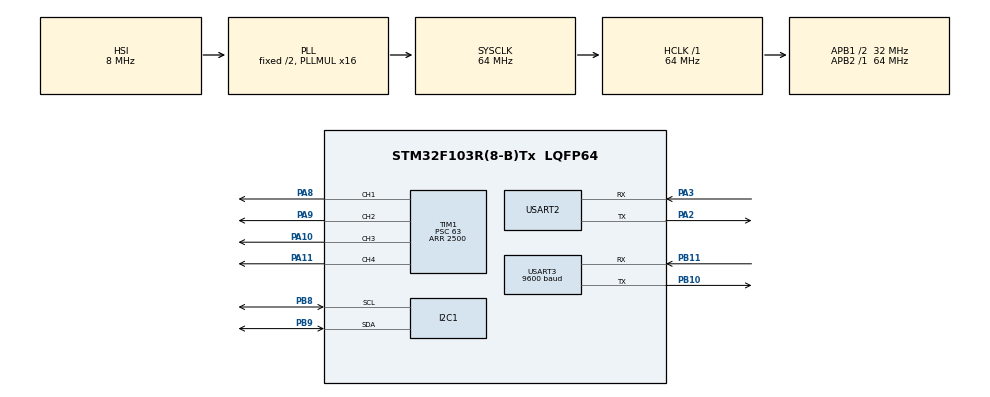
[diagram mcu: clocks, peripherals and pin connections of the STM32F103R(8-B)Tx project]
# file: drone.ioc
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I2C1.I2C_Mode=I2C_Fast
Mcu.Family=STM32F1
Mcu.Name=STM32F103R(8-B)Tx
Mcu.Package=LQFP64
NVIC.PriorityGroup=NVIC_PRIORITYGROUP_4
NVIC.USART2_IRQn=true\:0\:0\:false\:false\:true\:true\:true\:true
NVIC.USART3_IRQn=true\:0\:0\:false\:false\:true\:true\:true\:true
PA10.Signal=S_TIM1_CH3
PA11.Signal=S_TIM1_CH4
PA13.Mode=Serial_Wire
PA13.Signal=SYS_JTMS-SWDIO
PA14.Mode=Serial_Wire
PA14.Signal=SYS_JTCK-SWCLK
PA2.Mode=Asynchronous
PA2.Signal=USART2_TX
PA3.Mode=Asynchronous
PA3.Signal=USART2_RX
PA8.Signal=S_TIM1_CH1
PA9.Signal=S_TIM1_CH2
PB10.Mode=Asynchronous
PB10.Signal=USART3_TX
PB11.Mode=Asynchronous
PB11.Signal=USART3_RX
PB8.Mode=I2C
PB8.Signal=I2C1_SCL
PB9.Mode=I2C
PB9.Signal=I2C1_SDA
ProjectManager.HeapSize=0x200
ProjectManager.StackSize=0x400
ProjectManager.TargetToolchain=STM32CubeIDE
RCC.AHBFreq_Value=64000000
RCC.APB1CLKDivider=RCC_HCLK_DIV2
RCC.APB1Freq_Value=32000000
RCC.APB1TimFreq_Value=64000000
RCC.APB2Freq_Value=64000000
RCC.APB2TimFreq_Value=64000000
RCC.HCLKFreq_Value=64000000
RCC.HSE_VALUE=16000000
RCC.PLLMUL=RCC_PLL_MUL16
RCC.SYSCLKFreq_VALUE=64000000
RCC.SYSCLKSource=RCC_SYSCLKSOURCE_PLLCLK
RCC.USBFreq_Value=64000000
SH.S_TIM1_CH1.0=TIM1_CH1,PWM Generation1 CH1
SH.S_TIM1_CH2.0=TIM1_CH2,PWM Generation2 CH2
SH.S_TIM1_CH3.0=TIM1_CH3,PWM Generation3 CH3
SH.S_TIM1_CH4.0=TIM1_CH4,PWM Generation4 CH4
TIM1.Channel-PWM\ Generation1\ CH1=TIM_CHANNEL_1
TIM1.Channel-PWM\ Generation2\ CH2=TIM_CHANNEL_2
TIM1.Channel-PWM\ Generation3\ CH3=TIM_CHANNEL_3
TIM1.Channel-PWM\ Generation4\ CH4=TIM_CHANNEL_4
TIM1.OCFastMode_PWM-PWM\ Generation1\ CH1=TIM_OCFAST_DISABLE
TIM1.OCFastMode_PWM-PWM\ Generation3\ CH3=TIM_OCFAST_DISABLE
TIM1.OCFastMode_PWM-PWM\ Generation4\ CH4=TIM_OCFAST_DISABLE
TIM1.Period=2500
TIM1.Prescaler=63
TIM1.Pulse-PWM\ Generation1\ CH1=1000
TIM1.Pulse-PWM\ Generation2\ CH2=1000
TIM1.Pulse-PWM\ Generation3\ CH3=1000
TIM1.Pulse-PWM\ Generation4\ CH4=1000
USART2.VirtualMode=VM_ASYNC
USART3.BaudRate=9600
USART3.VirtualMode=VM_ASYNC
board=custom

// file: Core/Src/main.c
/* USER CODE BEGIN Header */
/**
  ******************************************************************************
  * @file           : main.c
  * @brief          : Main program body
  ******************************************************************************
  * @attention
  *
  * Copyright (c) 2024 STMicroelectronics.
  * All rights reserved.
  *
  * This software is licensed under terms that can be found in the LICENSE file
  * in the root directory of this software component.
  * If no LICENSE file comes with this software, it is provided AS-IS.
  *
  ******************************************************************************
  */
/* USER CODE END Header */
#include "main.h"

/* USER CODE BEGIN Includes */
#include "mokhw_MPU6050.h"

#include<stdio.h>
#include<string.h>
#include<math.h>
/* USER CODE END Includes */

/* USER CODE BEGIN PD */
#define UART_RX_BUFFER_SIZE 1024
#define RADIAN_TO_DEGREE (180 / 3.14159)
#define ALPHA 0.99
/* USER CODE END PD */

I2C_HandleTypeDef hi2c1;

TIM_HandleTypeDef htim1;

UART_HandleTypeDef huart2;
UART_HandleTypeDef huart3;

/* USER CODE BEGIN PV */
typedef struct {
	uint8_t buffer[UART_RX_BUFFER_SIZE];
	uint8_t temp;
	uint8_t rxd;
	volatile uint16_t input_p;
	volatile uint16_t output_p;
} uart_hal_rx_type;
typedef struct {
	float target_angle;
	float angle;
	float rate;
	float prev_rate;
	uint32_t prev_time;
	float stabilize_kp;
	float stabilize_ki;
	float rate_kp;
	float rate_ki;
	float rate_kd;
	float kd;
	float stabilize_iterm;
	float rate_iterm;
	float output;
} PID;
/* USER CODE END PV */

void SystemClock_Config(void);
static void MX_GPIO_Init(void);
static void MX_USART2_UART_Init(void);
static void MX_USART3_UART_Init(void);
static void MX_I2C1_Init(void);
static void MX_TIM1_Init(void);
/* USER CODE BEGIN PFP */
int _write(int, char*, int);
int __io_putchar(int);
void uart_hal_rx_buffer_init(void);
void HAL_UART_RxCpltCallback(UART_HandleTypeDef *huart);
uint8_t uart_hal_getchar(void);
void uart_hal_rx_monitor(void);
void mpu6050_init(mpu6050*);
float get_dt(uint32_t*);
void update_mpu6050();
long map(long val, long in_min, long in_max, long out_min, long out_max);
float map_f(float val, float in_min, float in_max, float out_min, float out_max);
void set_std_PID(PID*);
void set_dual_PID(PID*);
float constrain(float value, float min, float max);
void emergency_stop();
void kalman_filter(float accel_angle, float gyro_rate, float* angle, float* bias, float dt);
/* USER CODE END PFP */

/* USER CODE BEGIN 0 */
uart_hal_rx_type uart_hal_rx;
uint16_t in = 0;
uint8_t buffer[100];
uint32_t control_last_time;
mpu6050 my_mpu6050;
float base_gy_x, base_gy_y, base_gy_z;
uint32_t mpu_prev_time;
float angle_pitch = 0, angle_roll = 0, angle_yaw = 0;
float base_roll = 0;
float base_pitch = -6;
float base_yaw = 0;
int average[3] = {0};
long throttle = 1000;
float count;
float control_angle[3];
int offset[3] = {-176, 219, -254};
float LPF_Output[3];
float P[2][2] = {
		{1, 0},
		{0, 1}
};
float Q_angle = 0.001;
float Q_bias = 0.003;
float R_measure = 0.03;
float k[3] = {0};
float bias[3] = {0};
/* USER CODE END 0 */

int main(void)
{

  /* USER CODE BEGIN 1 */
	uart_hal_rx_buffer_init();
	PID pitch = {0};
	pitch.target_angle = base_pitch;
	pitch.stabilize_kp = 1.7;
	pitch.stabilize_ki = 0;
	pitch.rate_kp = 0.8;
	pitch.rate_ki = 0;
	pitch.rate_kd = 1.5;
	PID roll = {0};
	roll.target_angle = base_roll;
	roll.stabilize_kp = 1.7;
	roll.stabilize_ki = 0;
	roll.rate_kp = 0.8;
	roll.rate_ki = 0;
	roll.rate_kd = 1.5;
	PID yaw = {0};
	yaw.target_angle = base_yaw;
	yaw.stabilize_kp = 2;
	yaw.rate_kp = 1;
	yaw.rate_kd = 1;
	uint16_t m1_speed = 0, m2_speed = 0, m3_speed = 0, m4_speed = 0;

  /* USER CODE END 1 */

  /* MCU Configuration--------------------------------------------------------*/

  /* Reset of all peripherals, Initializes the Flash interface and the Systick. */
  HAL_Init();

  /* Configure the system clock */
  SystemClock_Config();

  /* Initialize all configured peripherals */
  MX_GPIO_Init();
  MX_USART2_UART_Init();
  MX_USART3_UART_Init();
  MX_I2C1_Init();
  MX_TIM1_Init();
  /* USER CODE BEGIN 2 */
  HAL_UART_Receive_IT(&huart3, &uart_hal_rx.temp, 1);
  WHO_AM_I(&hi2c1);
  wake_up(&hi2c1);
  set_sample_rate(&hi2c1, 1000);
  set_sensitivity(&hi2c1, &my_mpu6050, gyro_full_scale_range_250, accel_full_scale_range_2g);
  set_DLPF(&hi2c1, 1);

  mpu6050_init(&my_mpu6050);

  HAL_TIM_PWM_Start(&htim1, TIM_CHANNEL_1);
  HAL_TIM_PWM_Start(&htim1, TIM_CHANNEL_2);
  HAL_TIM_PWM_Start(&htim1, TIM_CHANNEL_3);
  HAL_TIM_PWM_Start(&htim1, TIM_CHANNEL_4);

  /* USER CODE END 2 */

  /* Infinite loop */
  /* USER CODE BEGIN WHILE */
  while (1)
  {
	  uart_hal_rx_monitor();
	  update_mpu6050();

	  if ((HAL_GetTick() - control_last_time) > 5000) {
		  emergency_stop();
	  }
	  if (throttle == 1000) {
		  pitch.stabilize_iterm = 0;
		  pitch.rate_iterm = 0;
		  pitch.output = 0;
		  roll.stabilize_iterm = 0;
		  roll.rate_iterm = 0;
		  roll.output = 0;
		  control_angle[2] = 0;
		  count = 0;
		  base_yaw = angle_yaw;
	  }

	  count += control_angle[2];
	  yaw.target_angle = base_yaw + count / 800;

	  pitch.angle = angle_pitch;
	  pitch.rate = my_mpu6050.gy_x_dps;
	  pitch.target_angle = base_pitch + control_angle[0];
	  roll.angle = angle_roll;
	  roll.rate = my_mpu6050.gy_y_dps;
	  roll.target_angle = base_roll + control_angle[1];
	  yaw.angle = angle_yaw;
	  yaw.rate = my_mpu6050.gy_z_dps;

	  set_dual_PID(&pitch);
	  set_dual_PID(&roll);
	  set_dual_PID(&yaw);

	  pitch.output = constrain(pitch.output, -200, 200);
	  roll.output = constrain(roll.output, -200, 200);
	  yaw.output = constrain(yaw.output, -200, 200);

	  /*m1_speed = (throttle == 1000) ? 1000 : throttle;
	  m2_speed = (throttle == 1000) ? 1000 : throttle;
	  m3_speed = (throttle == 1000) ? 1000 : throttle;
	  m4_speed = (throttle == 1000) ? 1000 : throttle;*/

	  m1_speed = (throttle == 1000) ? 1000 : throttle + pitch.output + roll.output + yaw.output;
	  m2_speed = (throttle == 1000) ? 1000 : throttle + pitch.output - roll.output - yaw.output;
	  m3_speed = (throttle == 1000) ? 1000 : throttle - pitch.output + roll.output - yaw.output;
	  m4_speed = (throttle == 1000) ? 1000 : throttle - pitch.output - roll.output + yaw.output;

	  if (m1_speed < 1000) {
		  m1_speed = 1000;
	  } else if(m1_speed > 2000) {
		  m1_speed = 2000;
	  }
	  if (m2_speed < 1000) {
		  m2_speed = 1000;
	  } else if(m2_speed > 2000) {
		  m2_speed = 2000;
	  }
	  if (m3_speed < 1000) {
		  m3_speed = 1000;
	  } else if(m3_speed > 2000) {
		  m3_speed = 2000;
	  }
	  if (m4_speed < 1000) {
		  m4_speed = 1000;
	  } else if(m4_speed > 2000) {
		  m4_speed = 2000;
	  }

	  htim1.Instance->CCR1 = m1_speed;
	  htim1.Instance->CCR2 = m2_speed;
	  htim1.Instance->CCR3 = m3_speed;
	  htim1.Instance->CCR4 = m4_speed;

	  printf("%f %f %f %f %d %d %d %d %d\r\n", angle_pitch, angle_roll, angle_yaw, yaw.target_angle, throttle, (int)htim1.Instance->CCR1, (int)htim1.Instance->CCR2, (int)htim1.Instance->CCR3, (int)htim1.Instance->CCR4);
    /* USER CODE END WHILE */

  }
}

void SystemClock_Config(void)
{
  RCC_OscInitTypeDef RCC_OscInitStruct = {0};
  RCC_ClkInitTypeDef RCC_ClkInitStruct = {0};

  /** Initializes the RCC Oscillators according to the specified parameters
  * in the RCC_OscInitTypeDef structure.
  */
  RCC_OscInitStruct.OscillatorType = RCC_OSCILLATORTYPE_HSI;
  RCC_OscInitStruct.HSIState = RCC_HSI_ON;
  RCC_OscInitStruct.HSICalibrationValue = RCC_HSICALIBRATION_DEFAULT;
  RCC_OscInitStruct.PLL.PLLState = RCC_PLL_ON;
  RCC_OscInitStruct.PLL.PLLSource = RCC_PLLSOURCE_HSI_DIV2;
  RCC_OscInitStruct.PLL.PLLMUL = RCC_PLL_MUL16;
  if (HAL_RCC_OscConfig(&RCC_OscInitStruct) != HAL_OK)
  {
    Error_Handler();
  }

  /** Initializes the CPU, AHB and APB buses clocks
  */
  RCC_ClkInitStruct.ClockType = RCC_CLOCKTYPE_HCLK|RCC_CLOCKTYPE_SYSCLK
                              |RCC_CLOCKTYPE_PCLK1|RCC_CLOCKTYPE_PCLK2;
  RCC_ClkInitStruct.SYSCLKSource = RCC_SYSCLKSOURCE_PLLCLK;
  RCC_ClkInitStruct.AHBCLKDivider = RCC_SYSCLK_DIV1;
  RCC_ClkInitStruct.APB1CLKDivider = RCC_HCLK_DIV2;
  RCC_ClkInitStruct.APB2CLKDivider = RCC_HCLK_DIV1;

  if (HAL_RCC_ClockConfig(&RCC_ClkInitStruct, FLASH_LATENCY_2) != HAL_OK)
  {
    Error_Handler();
  }
}

static void MX_I2C1_Init(void)
{

  hi2c1.Instance = I2C1;
  hi2c1.Init.ClockSpeed = 400000;
  hi2c1.Init.DutyCycle = I2C_DUTYCYCLE_2;
  hi2c1.Init.OwnAddress1 = 0;
  hi2c1.Init.AddressingMode = I2C_ADDRESSINGMODE_7BIT;
  hi2c1.Init.DualAddressMode = I2C_DUALADDRESS_DISABLE;
  hi2c1.Init.OwnAddress2 = 0;
  hi2c1.Init.GeneralCallMode = I2C_GENERALCALL_DISABLE;
  hi2c1.Init.NoStretchMode = I2C_NOSTRETCH_DISABLE;
  if (HAL_I2C_Init(&hi2c1) != HAL_OK)
  {
    Error_Handler();
  }

}

static void MX_TIM1_Init(void)
{

  TIM_MasterConfigTypeDef sMasterConfig = {0};
  TIM_OC_InitTypeDef sConfigOC = {0};
  TIM_BreakDeadTimeConfigTypeDef sBreakDeadTimeConfig = {0};

  htim1.Instance = TIM1;
  htim1.Init.Prescaler = 63;
  htim1.Init.CounterMode = TIM_COUNTERMODE_UP;
  htim1.Init.Period = 2500;
  htim1.Init.ClockDivision = TIM_CLOCKDIVISION_DIV1;
  htim1.Init.RepetitionCounter = 0;
  htim1.Init.AutoReloadPreload = TIM_AUTORELOAD_PRELOAD_DISABLE;
  if (HAL_TIM_PWM_Init(&htim1) != HAL_OK)
  {
    Error_Handler();
  }
  sMasterConfig.MasterOutputTrigger = TIM_TRGO_RESET;
  sMasterConfig.MasterSlaveMode = TIM_MASTERSLAVEMODE_DISABLE;
  if (HAL_TIMEx_MasterConfigSynchronization(&htim1, &sMasterConfig) != HAL_OK)
  {
    Error_Handler();
  }
  sConfigOC.OCMode = TIM_OCMODE_PWM1;
  sConfigOC.Pulse = 1000;
  sConfigOC.OCPolarity = TIM_OCPOLARITY_HIGH;
  sConfigOC.OCNPolarity = TIM_OCNPOLARITY_HIGH;
  sConfigOC.OCFastMode = TIM_OCFAST_DISABLE;
  sConfigOC.OCIdleState = TIM_OCIDLESTATE_RESET;
  sConfigOC.OCNIdleState = TIM_OCNIDLESTATE_RESET;
  if (HAL_TIM_PWM_ConfigChannel(&htim1, &sConfigOC, TIM_CHANNEL_1) != HAL_OK)
  {
    Error_Handler();
  }
  if (HAL_TIM_PWM_ConfigChannel(&htim1, &sConfigOC, TIM_CHANNEL_2) != HAL_OK)
  {
    Error_Handler();
  }
  if (HAL_TIM_PWM_ConfigChannel(&htim1, &sConfigOC, TIM_CHANNEL_3) != HAL_OK)
  {
    Error_Handler();
  }
  if (HAL_TIM_PWM_ConfigChannel(&htim1, &sConfigOC, TIM_CHANNEL_4) != HAL_OK)
  {
    Error_Handler();
  }
  sBreakDeadTimeConfig.OffStateRunMode = TIM_OSSR_DISABLE;
  sBreakDeadTimeConfig.OffStateIDLEMode = TIM_OSSI_DISABLE;
  sBreakDeadTimeConfig.LockLevel = TIM_LOCKLEVEL_OFF;
  sBreakDeadTimeConfig.DeadTime = 0;
  sBreakDeadTimeConfig.BreakState = TIM_BREAK_DISABLE;
  sBreakDeadTimeConfig.BreakPolarity = TIM_BREAKPOLARITY_HIGH;
  sBreakDeadTimeConfig.AutomaticOutput = TIM_AUTOMATICOUTPUT_DISABLE;
  if (HAL_TIMEx_ConfigBreakDeadTime(&htim1, &sBreakDeadTimeConfig) != HAL_OK)
  {
    Error_Handler();
  }
  HAL_TIM_MspPostInit(&htim1);

}

static void MX_USART2_UART_Init(void)
{

  huart2.Instance = USART2;
  huart2.Init.BaudRate = 115200;
  huart2.Init.WordLength = UART_WORDLENGTH_8B;
  huart2.Init.StopBits = UART_STOPBITS_1;
  huart2.Init.Parity = UART_PARITY_NONE;
  huart2.Init.Mode = UART_MODE_TX_RX;
  huart2.Init.HwFlowCtl = UART_HWCONTROL_NONE;
  huart2.Init.OverSampling = UART_OVERSAMPLING_16;
  if (HAL_UART_Init(&huart2) != HAL_OK)
  {
    Error_Handler();
  }

}

static void MX_USART3_UART_Init(void)
{

  huart3.Instance = USART3;
  huart3.Init.BaudRate = 9600;
  huart3.Init.WordLength = UART_WORDLENGTH_8B;
  huart3.Init.StopBits = UART_STOPBITS_1;
  huart3.Init.Parity = UART_PARITY_NONE;
  huart3.Init.Mode = UART_MODE_TX_RX;
  huart3.Init.HwFlowCtl = UART_HWCONTROL_NONE;
  huart3.Init.OverSampling = UART_OVERSAMPLING_16;
  if (HAL_UART_Init(&huart3) != HAL_OK)
  {
    Error_Handler();
  }

}

static void MX_GPIO_Init(void)
{

  /* GPIO Ports Clock Enable */
  __HAL_RCC_GPIOA_CLK_ENABLE();
  __HAL_RCC_GPIOB_CLK_ENABLE();

}

/* USER CODE BEGIN 4 */
int _write(int file, char *ptr, int len)
{
	if(HAL_UART_Transmit(&huart2, (uint8_t *)ptr, len, 10) == HAL_OK)
		return len;
	return -1;
}
int __io_putchar(int ch)
{
	if(HAL_UART_Transmit(&huart2, (uint8_t *)&ch, 1, 10) != HAL_OK)
		return -1;
	return ch;
}

void uart_hal_rx_buffer_init(void) {
	uart_hal_rx.input_p = 0;
	uart_hal_rx.output_p = 0;
}
void uart_hal_rx_monitor(void) {

	while(uart_hal_getchar() != 0) {

	}

}
void HAL_UART_RxCpltCallback(UART_HandleTypeDef *huart) {
	if (huart->Instance == USART3) {
		uart_hal_rx.buffer[uart_hal_rx.input_p++] = uart_hal_rx.temp;
		if (uart_hal_rx.input_p >= UART_RX_BUFFER_SIZE) {
			uart_hal_rx.input_p = 0;
		}
		HAL_UART_Receive_IT(&huart3, &uart_hal_rx.temp, 1);
	}

}

uint8_t uart_hal_getchar(void) {
	uint32_t reg = READ_REG(huart3.Instance->CR1);

	__HAL_UART_DISABLE_IT(&huart3, UART_IT_RXNE);
	if (uart_hal_rx.input_p == uart_hal_rx.output_p) {
		WRITE_REG(huart3.Instance->CR1, reg);
		return 0;
	}
	WRITE_REG(huart3.Instance->CR1, reg);
	uart_hal_rx.rxd = uart_hal_rx.buffer[uart_hal_rx.output_p++];
	if (uart_hal_rx.output_p >= UART_RX_BUFFER_SIZE) {
		uart_hal_rx.output_p = 0;
	}
	buffer[in++] = uart_hal_rx.rxd;
	if (in > 4) {
		if (buffer[in - 1] == 'c') {
			control_last_time = HAL_GetTick();
			throttle = map(buffer[2], 0, 100, 1000, 2000);
			control_angle[0] = -map_f(buffer[0], 0, 100, -30, 30);
			control_angle[1] = -map_f(buffer[1], 0, 100, -30, 30);
			control_angle[2] = map_f(buffer[3], 0, 100, -100, 100);

		}
		in = 0;
	}

	return 1;
}
void mpu6050_init(mpu6050* my_mpu6050) {
	if (my_mpu6050 == NULL) {
		return;
	}
	float sum_gy_x = 0, sum_gy_y = 0, sum_gy_z = 0;
	int sum[3] = {0};
	for (int i = 0; i < 10; i++) {
		read_gyro(&hi2c1, my_mpu6050, raw_data	);

		sum_gy_x += (int16_t) ((my_mpu6050->gy_x - offset[0]) / my_mpu6050->gyro_change_unit_factor);
		sum_gy_y += (int16_t) ((my_mpu6050->gy_y - offset[1]) / my_mpu6050->gyro_change_unit_factor);
		sum_gy_z += (int16_t) ((my_mpu6050->gy_z - offset[2]) / my_mpu6050->gyro_change_unit_factor);
		sum[0] += my_mpu6050->gy_x;
		sum[1] += my_mpu6050->gy_y;
		sum[2] += my_mpu6050->gy_z;
		HAL_Delay(100);
	}
	base_gy_x = sum_gy_x / 10;
	base_gy_y = sum_gy_y / 10;
	base_gy_z = sum_gy_z / 10;
	average[0] = sum[0] / 10;
	average[1] = sum[1] / 10;
	average[2] = sum[2] / 10;

}
float get_dt(uint32_t* prev) {
	float now = HAL_GetTick();
	float dt = (now - *prev) / 1000;
	*prev = now;
	return dt;
}
void update_mpu6050() {
	float angle_ac_x, angle_ac_y, angle_ac_z;
	float angle_gy_x = 0, angle_gy_y = 0, angle_gy_z = 0;
	float f_ac[3];
	float angle_tmp_x, angle_tmp_y, angle_tmp_z;
	float dt;
	read_gyro(&hi2c1, &my_mpu6050, raw_data);
	read_accel(&hi2c1, &my_mpu6050, gravity_acceleration);
	dt = get_dt(&mpu_prev_time);
	f_ac[0] = my_mpu6050.ac_x_g;
	f_ac[1] = my_mpu6050.ac_y_g;
	f_ac[2] = my_mpu6050.ac_z_g;

	for (int i = 0; i < 3; i++) {
		LPF_Output[i] = LPF_Output[i] * 0.9 + f_ac[i] * 0.1;
	}

	f_ac[0] = LPF_Output[0];
	f_ac[1] = LPF_Output[1];
	f_ac[2] = LPF_Output[2];

	my_mpu6050.gy_x_dps = (int16_t) ((my_mpu6050.gy_x - offset[0]) / my_mpu6050.gyro_change_unit_factor);
	my_mpu6050.gy_y_dps = (int16_t) ((my_mpu6050.gy_y - offset[1]) / my_mpu6050.gyro_change_unit_factor);
	my_mpu6050.gy_z_dps = (int16_t) ((my_mpu6050.gy_z - offset[2]) / my_mpu6050.gyro_change_unit_factor);
	angle_ac_x = atan(f_ac[1] / sqrt((pow(f_ac[0], 2) + pow(f_ac[2], 2))));
	angle_ac_x *= RADIAN_TO_DEGREE;
	angle_ac_y = atan(-f_ac[0] / sqrt((pow(f_ac[1], 2) + pow(f_ac[2], 2))));
	angle_ac_y *= RADIAN_TO_DEGREE;
	angle_ac_z = atan(sqrt(pow(f_ac[0], 2) + pow(f_ac[1], 2) / f_ac[2]));
	angle_ac_z *= RADIAN_TO_DEGREE;
	angle_gy_x += (my_mpu6050.gy_x_dps - base_gy_x) * dt;
	angle_gy_y += (my_mpu6050.gy_y_dps - base_gy_y) * dt;
	angle_gy_z += (my_mpu6050.gy_z_dps) * dt;
	angle_tmp_x = angle_pitch + angle_gy_x;
	angle_tmp_y = angle_roll + angle_gy_y;
	angle_tmp_z = angle_yaw + angle_gy_z;
	kalman_filter(f_ac[0], my_mpu6050.gy_x_dps, &k[0], &bias[0], dt);
	kalman_filter(f_ac[1], my_mpu6050.gy_y_dps, &k[1], &bias[1], dt);
	//angle_pitch = ALPHA * angle_tmp_x + (1.0 - ALPHA) * angle_ac_x;
	//angle_roll = ALPHA * angle_tmp_y + (1.0 - ALPHA) * angle_ac_y;
	angle_pitch = k[0];
	angle_roll = k[1];
	angle_yaw = angle_tmp_z;
}

long map(long val, long in_min, long in_max, long out_min, long out_max) {
	return (long)(((val - in_min)/ (double)(in_max - in_min)) * (out_max - out_min)  + out_min);
}
float map_f(float val, float in_min, float in_max, float out_min, float out_max) {
	return ((val - in_min)/ (in_max - in_min)) * (out_max - out_min)  + out_min;
}
void set_std_PID(PID* PID) {
	float error = PID->target_angle - PID->angle;
	float dInput = error - PID->prev_rate;
	float dt = get_dt(&PID->prev_time);
	float pterm, dterm;

	pterm = PID->stabilize_kp * error;
	PID->stabilize_iterm += PID->stabilize_ki * error * dt;
	dterm = PID->kd * (dInput);

	PID->output = pterm + PID->stabilize_iterm + dterm;
	PID->prev_rate = error;

}
void set_dual_PID(PID* PID) {
	float angle_error = PID->target_angle - PID->angle;
	float rate_error;
	float desired_rate;
	float dInput;
	float stabilize_pterm;
	float rate_pterm;
	float rate_dterm;
	float dt = get_dt(&PID->prev_time);
	stabilize_pterm = PID->stabilize_kp * angle_error;
	PID->stabilize_iterm = PID->stabilize_iterm + PID->stabilize_ki * angle_error * dt;
	desired_rate = stabilize_pterm;
	rate_error = desired_rate - PID->rate;
	dInput = rate_error - PID->prev_rate;
	PID->prev_rate = rate_error;
	rate_pterm = PID->rate_kp * rate_error;
	PID->rate_iterm = PID->rate_iterm + PID->rate_ki * rate_error * dt;
	rate_dterm = PID->rate_kd *(dInput);
	PID->output = rate_pterm + PID->rate_iterm + rate_dterm;
}
float constrain(float value, float min, float max) {
	if (value > max) {
		value = max;
	} else if (value < min) {
		value = min;
	}
	return value;
}
void emergency_stop() {
	control_angle[0] = 0;
	control_angle[1] = 0;
	control_angle[2] = 0;
	if (throttle > 1000) {
		throttle--;
	}
}
void kalman_filter(float accel_angle, float gyro_rate, float* angle, float* bias, float dt) {
	float rate = gyro_rate - *bias;
	*angle += rate * dt;

	P[0][0] += dt * (dt*P[1][1] - P[0][1] - P[1][0] + Q_angle);
	P[0][1] -= dt * P[1][1];
	P[1][0] -= dt * P[1][1];
	P[1][1] += Q_bias * dt;

	float S = P[0][0] + R_measure;
	float K[2] = {P[0][0] / S, P[1][0] / S};

	float y = accel_angle - *angle;
	*angle += K[0] * y;
	*bias += K[1] * y;

	float temp_P00 = P[0][0];
	float temp_P01 = P[0][1];

	P[0][0] -= K[0] * temp_P00;
	P[0][1] -= K[0] * temp_P01;
	P[1][0] -= K[1] * temp_P00;
	P[1][1] -= K[1] * temp_P01;
}

/* USER CODE END 4 */

void Error_Handler(void)
{
  __disable_irq();
  while (1)
  {
  }
}
